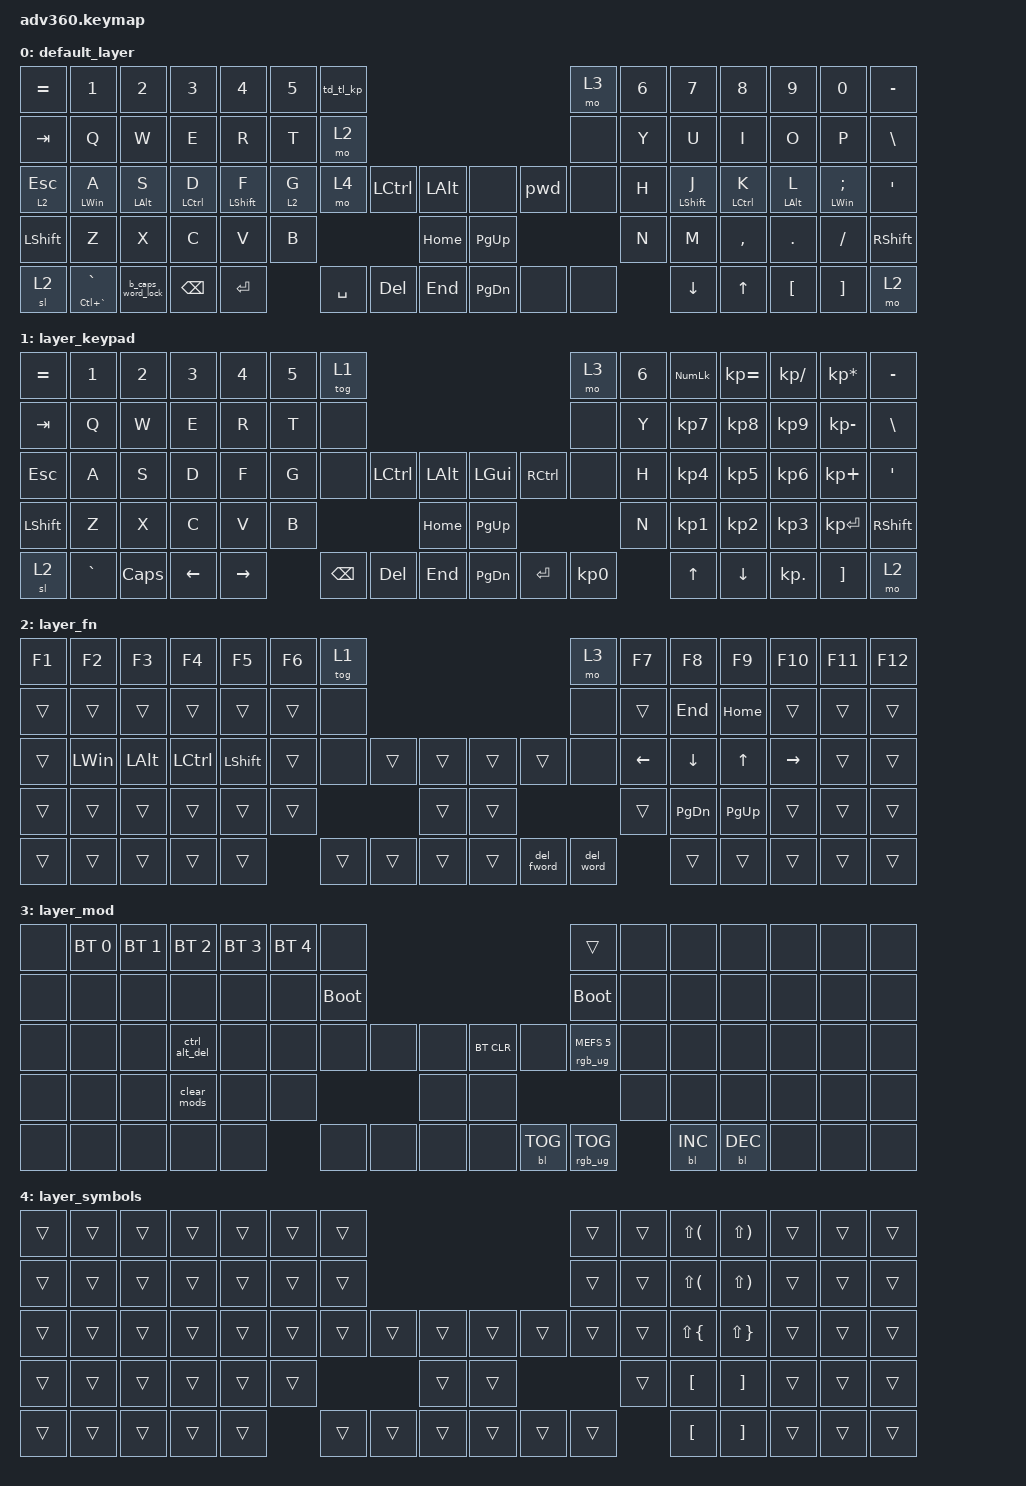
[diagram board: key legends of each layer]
/*
 * Copyright (c) 2020 The ZMK Contributors
 *
 * SPDX-License-Identifier: MIT
 */
/* THIS FILE WAS GENERATED!
 *
 * This file was generated automatically. You may or may not want to
 * edit it directly.
 */

#include <behaviors.dtsi>
#include <dt-bindings/zmk/backlight.h>
#include <dt-bindings/zmk/bt.h>
#include <dt-bindings/zmk/keys.h>
#include <dt-bindings/zmk/rgb.h>

&sl { release-after-ms = <5000>; };

/ {
    behaviors {
        #include "macros.dtsi"

        hm: homerow_mods {
            compatible = "zmk,behavior-hold-tap";
            label = "HOMEROW_MODS";
            #binding-cells = <2>;
            tapping-term-ms = <200>;
            quick_tap_ms = <175>;
            flavor = "tap-preferred";
            bindings = <&kp>, <&kp>;
        };

        b_caps_word_lock: b_caps_word_lock {
            compatible = "zmk,behavior-tap-dance";
            label = "B_CAPS_WORD_LOCK";
            #binding-cells = <0>;
            bindings = <&caps_word>, <&kp CAPSLOCK>;
        };

        td_tl_kp: td_tl_kp {
            compatible = "zmk,behavior-tap-dance";
            label = "TD_TL_KP";
            #binding-cells = <0>;
            tapping-term-ms = <400>;
            bindings = <&none>, <&none>, <&tog 1>;
        };
    };

    combos {
        compatible = "zmk,combos";

        c_del_word {
            bindings = <&del_word>;
            key-positions = <41 42>;
        };

        c_capsword {
            bindings = <&caps_word>;
            key-positions = <55 50>;
        };

        c_underscore {
            bindings = <&mt UNDER MINUS>;
            key-positions = <55 56>;
        };

        c_copy {
            bindings = <&kp LC(C)>;
            key-positions = <50 49>;
        };

        c_paste {
            bindings = <&kp LC(V)>;
            key-positions = <50 51>;
        };

        c_cut {
            bindings = <&kp LC(X)>;
            key-positions = <48 49>;
        };

        c_alt_tab {
            bindings = <&c_alt_tab_mode>;
            key-positions = <17 18>;
            require-prior-idle-ms = <500>;
            timeout-ms = <10>;
        };
    };

    macros {
        del_word: del_word {
            compatible = "zmk,behavior-macro";
            #binding-cells = <0>;
            bindings = <&kp LC(BACKSPACE)>;
            label = "DEL_WORD";
        };

        del_fword: del_fword {
            compatible = "zmk,behavior-macro";
            #binding-cells = <0>;
            bindings = <&kp LC(DELETE)>;
            label = "DEL_FWORD";
        };

        clear_mods: clear_mods {
            compatible = "zmk,behavior-macro";
            #binding-cells = <0>;
            bindings =
                <&macro_release>,
                <&kp LSHIFT &kp RSHIFT &kp LCTRL &kp RCTRL &kp LWIN &kp RWIN &kp LALT &kp RALT>;

            label = "CLEAR_MODS";
        };

        ctrl_alt_del: ctrl_alt_del {
            compatible = "zmk,behavior-macro";
            #binding-cells = <0>;
            bindings = <&kp LA(LC(DEL))>;
            label = "CTRL_ALT_DEL";
        };

        c_alt_tab_mode: c_alt_tab_mode {
            compatible = "zmk,behavior-macro";
            #binding-cells = <0>;
            bindings =
                <&macro_press>,
                <&mo 2 &kp LEFT_ALT>,
                <&macro_tap>,
                <&kp TAB>,
                <&macro_pause_for_release>,
                <&macro_release>,
                <&mo 2 &kp LEFT_ALT>;

            label = "C_ALT_TAB_MODE";
        };

        pwd: pwd {
            compatible = "zmk,behavior-macro";
            #binding-cells = <0>;
            bindings = <&kp LS(D) &kp A &kp R &kp K &kp S &kp O &kp U &kp L &kp S &kp I &kp S &kp H &kp A &kp R &kp D &kp POUND &kp N2 &kp N2>;
            label = "PWD";
        };
    };

    keymap {
        compatible = "zmk,keymap";

        default_layer {
            bindings = <
&kp EQUAL     &kp N1               &kp N2             &kp N3              &kp N4            &kp N5   &td_tl_kp                                             &mo 3  &kp N6  &kp N7            &kp N8              &kp N9          &kp N0                  &kp MINUS
&kp TAB       &kp Q                &kp W              &kp E               &kp R             &kp T    &mo 2                                                 &none  &kp Y   &kp U             &kp I               &kp O           &kp P                   &kp BSLH
&lt 2 ESCAPE  &hm LEFT_WIN A       &hm LEFT_ALT S     &hm LEFT_CONTROL D  &hm LEFT_SHIFT F  &lt 2 G  &mo 4      &kp LCTRL  &kp LALT      &none      &pwd   &none  &kp H   &hm LEFT_SHIFT J  &hm LEFT_CONTROL K  &hm LEFT_ALT L  &hm LEFT_WIN SEMICOLON  &kp SQT
&kp LSHFT     &kp Z                &kp X              &kp C               &kp V             &kp B                          &kp HOME      &kp PG_UP                &kp N   &kp M             &kp COMMA           &kp DOT         &kp FSLH                &kp RSHFT
&sl 2         &hm LC(GRAVE) GRAVE  &b_caps_word_lock  &kp BACKSPACE       &kp ENTER                  &kp SPACE  &kp DEL    &kp END       &kp PG_DN  &none  &none          &kp DOWN          &kp UP              &kp LBKT        &kp RBKT                &mo 2
            >;
        };

        layer_keypad {
            bindings = <
&kp EQUAL  &kp N1     &kp N2    &kp N3    &kp N4     &kp N5  &tog 1                                                   &mo 3      &kp N6  &kp KP_NUM  &kp KP_EQUAL  &kp KP_DIVIDE  &kp KP_MULTIPLY  &kp MINUS
&kp TAB    &kp Q      &kp W     &kp E     &kp R      &kp T   &none                                                    &none      &kp Y   &kp KP_N7   &kp KP_N8     &kp KP_N9      &kp KP_MINUS     &kp BSLH
&kp ESC    &kp A      &kp S     &kp D     &kp F      &kp G   &none     &kp LCTRL  &kp LALT      &kp LGUI   &kp RCTRL  &none      &kp H   &kp KP_N4   &kp KP_N5     &kp KP_N6      &kp KP_PLUS      &kp SQT
&kp LSHFT  &kp Z      &kp X     &kp C     &kp V      &kp B                        &kp HOME      &kp PG_UP                        &kp N   &kp KP_N1   &kp KP_N2     &kp KP_N3      &kp KP_ENTER     &kp RSHFT
&sl 2      &kp GRAVE  &kp CAPS  &kp LEFT  &kp RIGHT          &kp BSPC  &kp DEL    &kp END       &kp PG_DN  &kp ENTER  &kp KP_N0          &kp UP      &kp DOWN      &kp KP_DOT     &kp RBKT         &mo 2
            >;
        };

        layer_fn {
            bindings = <
&kp F1  &kp F2    &kp F3        &kp F4     &kp F5          &kp F6  &tog 1                                          &mo 3      &kp F7    &kp F8         &kp F9     &kp F10    &kp F11  &kp F12
&trans  &trans    &trans        &trans     &trans          &trans  &none                                           &none      &trans    &kp END        &kp HOME   &trans     &trans   &trans
&trans  &kp LWIN  &kp LEFT_ALT  &kp LCTRL  &kp LEFT_SHIFT  &trans  &none   &trans  &trans      &trans  &trans      &none      &kp LEFT  &kp DOWN       &kp UP     &kp RIGHT  &trans   &trans
&trans  &trans    &trans        &trans     &trans          &trans                  &trans      &trans                         &trans    &kp PAGE_DOWN  &kp PG_UP  &trans     &trans   &trans
&trans  &trans    &trans        &trans     &trans                  &trans  &trans  &trans      &trans  &del_fword  &del_word            &trans         &trans     &trans     &trans   &trans
            >;
        };

        layer_mod {
            bindings = <
&none  &bt BT_SEL 0  &bt BT_SEL 1  &bt BT_SEL 2   &bt BT_SEL 3  &bt BT_SEL 4  &none                                                  &trans                  &none  &none       &none       &none  &none  &none
&none  &none         &none         &none          &none         &none         &bootloader                                            &bootloader             &none  &none       &none       &none  &none  &none
&none  &none         &none         &ctrl_alt_del  &none         &none         &none        &none  &none      &bt BT_CLR  &none       &rgb_ug RGB_MEFS_CMD 5  &none  &none       &none       &none  &none  &none
&none  &none         &none         &clear_mods    &none         &none                             &none      &none                                           &none  &none       &none       &none  &none  &none
&none  &none         &none         &none          &none                       &none        &none  &none      &none       &bl BL_TOG  &rgb_ug RGB_TOG                &bl BL_INC  &bl BL_DEC  &none  &none  &none
            >;
        };

        layer_symbols {
            bindings = <
&trans  &trans  &trans  &trans  &trans  &trans  &trans                                      &trans  &trans  &kp LS(LPAR)  &kp LS(RPAR)  &trans  &trans  &trans
&trans  &trans  &trans  &trans  &trans  &trans  &trans                                      &trans  &trans  &kp LS(LPAR)  &kp LS(RPAR)  &trans  &trans  &trans
&trans  &trans  &trans  &trans  &trans  &trans  &trans  &trans  &trans      &trans  &trans  &trans  &trans  &kp LS(LBRC)  &kp LS(RBRC)  &trans  &trans  &trans
&trans  &trans  &trans  &trans  &trans  &trans                  &trans      &trans                  &trans  &kp LBKT      &kp RBKT      &trans  &trans  &trans
&trans  &trans  &trans  &trans  &trans          &trans  &trans  &trans      &trans  &trans  &trans          &kp LBKT      &kp RBKT      &trans  &trans  &trans
            >;
        };
    };
};
